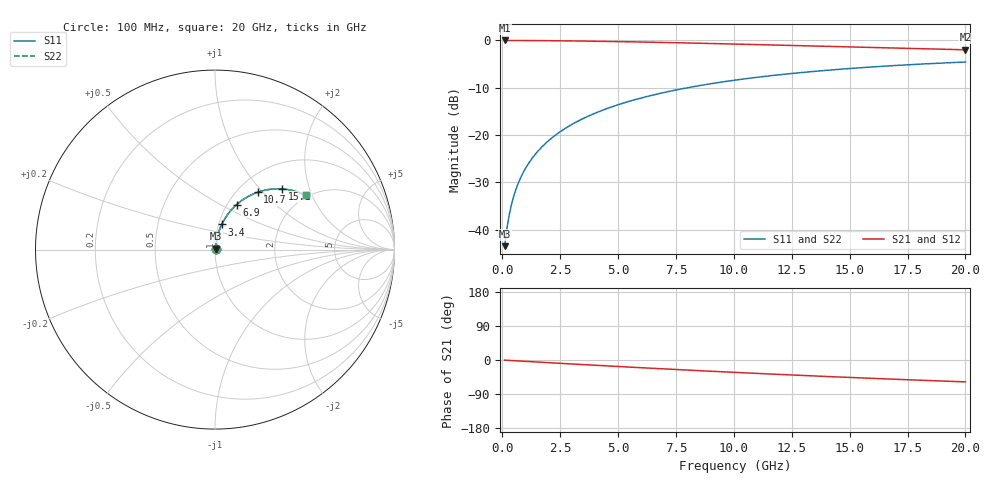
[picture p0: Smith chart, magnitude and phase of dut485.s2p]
! Touchstone file exported from HFSS 2026.1.0
!  File:  C:/ffzhzh/LocalFiles/Ansys_Project_Files/temp_train_TMRDL_485_1783006446_55676.aedt
!  Generated:  11:35:40 PM Jul  2, 2026
!  Design:  TMRDL
!  Project:  temp_train_TMRDL_485_1783006446_55676
! Variables:
!  h_bsmrdl = 2um
!  h_ox = 20um
!  h_rdl = 5um
!  h_sub = 80um
!  h_tmrdl = 5.52um
!  h_tsv = 80um
!  h_via = 3um
!  l_bsmrdl = 300um
!  l_sub = 1252.17um
!  l_tmrdl = 852.17um
!  m_sub = 200um
!  pitch = 48.12um
!  r_tsv = 6um
!  s_tmrdl = 10um
!  w_bsmrdl = 18um
!  w_sub = 500um
!  w_tmrdl = 11.03um
!  x_tsv_center1 = 857.685um
!  x_tsv_center2 = 1175.685um
!  x_tsv_center3 = 2038.885um
!  x_tsv_center4 = 2356.885um
!  x_tsv_center5 = 3220.085um
!  x_tsv_center6 = 3538.085um
# GHz S MA R 50.000000
! Terminal data exported
! Port[1] = TM_RDL1_1_T1
! Port[2] = TM_RDL1_1_T2
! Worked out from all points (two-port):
!   200 points, 100 MHz to 20 GHz, reference 50 ohm
!   highest |S21| = -0.04 dB at 100 MHz (marker M1); lowest = -2.0 dB at 20 GHz (marker M2)
!   |S21| within 3 dB of the highest: start of sweep to end of sweep
!   lowest |S11| = -43.5 dB at 100 MHz (marker M3), VSWR 1.01, Z = 50.5 + j0.452 ohm
!   |S11| at or under -10 dB: start of sweep to 8.03 GHz
!   |S22| runs from -43.5 to -4.6 dB; largest |S21 - S12| = 5.7e-15
!   S11 on the Smith chart (normalised r, x): 100 MHz: 1.01, +0.01; 3.4 GHz: 1.04, +0.30; 6.9 GHz: 1.10, +0.60; 10.7 GHz: 1.23, +0.93; 15.1 GHz: 1.48, +1.34; 20 GHz: 1.95, +1.80
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0.1  0.006689 42.0  0.9951 -0.4  0.9951 -0.4  0.006689 42.0
! Gamma 0 0 0 0
! Port Impedance 50 0 50 0
0.2  0.0103 60.1  0.9949 -0.7  0.9949 -0.7  0.0103 60.1
0.3  0.01436 68.0  0.9948 -1.1  0.9948 -1.1  0.01437 68.0
0.4  0.01857 72.2  0.9946 -1.4  0.9946 -1.4  0.01857 72.2
0.5  0.02282 74.7  0.9944 -1.8  0.9944 -1.8  0.02282 74.7
0.7  0.03137 77.5  0.994 -2.5  0.994 -2.5  0.03137 77.4
1  0.04427 79.1  0.9933 -3.5  0.9933 -3.5  0.04427 79.1
1.4  0.06146 79.5  0.9921 -4.9  0.9921 -4.9  0.06146 79.5
2  0.08709 78.7  0.9897 -7.0  0.9897 -7.0  0.08709 78.7
2.6  0.1124 77.2  0.9865 -9.1  0.9865 -9.1  0.1124 77.2
3.4  0.1453 75.0  0.9813 -11.8  0.9813 -11.8  0.1453 75.0
3.5  0.1494 74.7  0.9806 -12.2  0.9806 -12.2  0.1494 74.7
5  0.2084 70.1  0.9681 -17.2  0.9681 -17.2  0.2084 70.1
6.8  0.2744 64.6  0.9499 -22.9  0.9499 -22.9  0.2744 64.6
6.9  0.2779 64.3  0.9488 -23.2  0.9488 -23.2  0.2779 64.3
8.4  0.3283 59.9  0.9316 -27.9  0.9316 -27.9  0.3283 59.9
10.1  0.3806 55.1  0.9109 -32.9  0.9109 -32.9  0.3806 55.0
10.7  0.3978 53.4  0.9034 -34.6  0.9034 -34.6  0.3978 53.4
13.4  0.4675 46.3  0.8691 -41.9  0.8691 -41.9  0.4675 46.2
15.1  0.505 42.0  0.848 -46.3  0.848 -46.3  0.505 42.0
16.7  0.5362 38.2  0.8289 -50.2  0.8289 -50.2  0.5363 38.2
20  0.5891 30.8  0.7929 -57.8  0.7929 -57.8  0.5891 30.8
